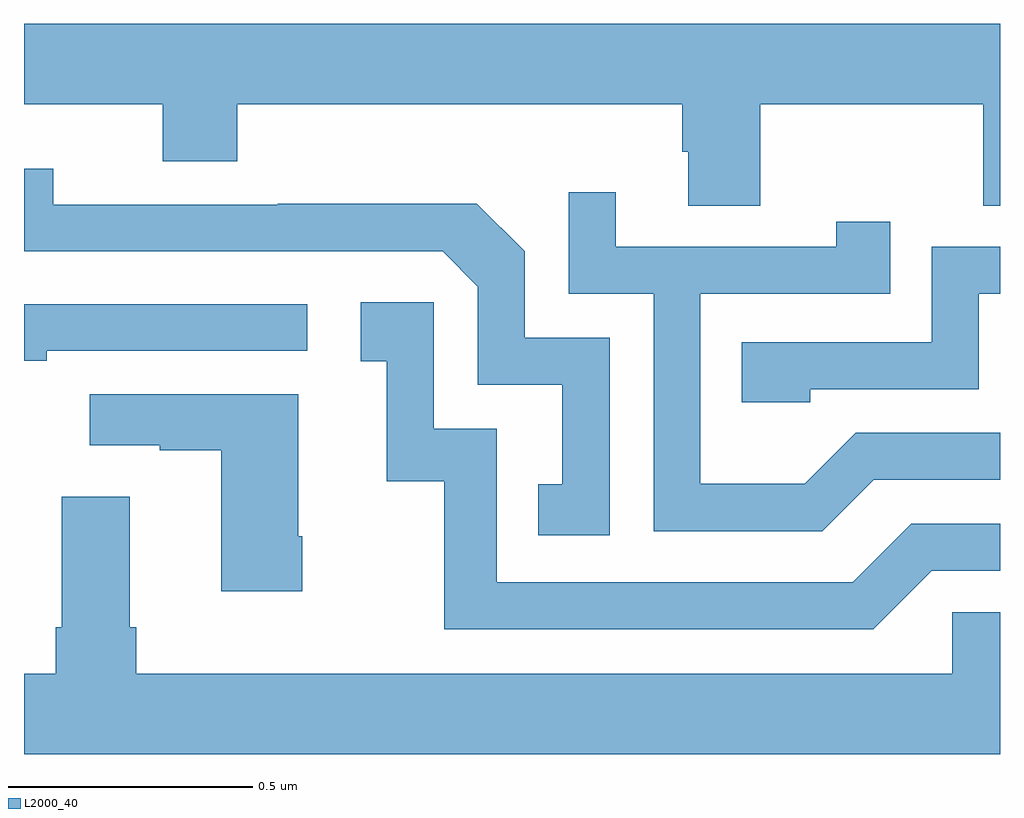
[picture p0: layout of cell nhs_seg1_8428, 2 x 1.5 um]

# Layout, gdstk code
import gdstk
lib = gdstk.Library(unit=1e-6, precision=1e-09)
def P(c, l, *ps):  # polygons
    for p in ps: c.add(gdstk.Polygon(p, *l))
L2000_40 = (2000, 40)

nhs_seg1_8428 = lib.new_cell('nhs_seg1_8428')
P(nhs_seg1_8428, L2000_40, [(217.509,543.74),(217.966,543.74),(217.966,543.532),(218,543.532),(218,543.904),(216,543.904),(216,543.74),(216.284,543.74),(216.284,543.623),(216.437,543.623),(216.437,543.74),(217.349,543.74),(217.349,543.642),(217.361,543.642),(217.361,543.532),(217.509,543.532)],
  [(217.2,543.261),(217.026,543.261),(217.026,543.438),(216.928,543.536),(216.52,543.536),(216.52,543.534),(216.06,543.534),(216.06,543.607),(216,543.607),(216,543.438),(216.858,543.438),(216.93,543.366),(216.93,543.165),(217.103,543.165),(217.103,542.961),(217.054,542.961),(217.054,542.856),(217.2,542.856)],
  [(217.741,542.97),(218,542.97),(218,543.066),(217.704,543.066),(217.6,542.962),(217.386,542.962),(217.386,543.351),(217.775,543.351),(217.775,543.499),(217.664,543.499),(217.664,543.447),(217.213,543.447),(217.213,543.559),(217.116,543.559),(217.116,543.351),(217.29,543.351),(217.29,542.865),(217.636,542.865)],
  [(217.611,543.156),(217.956,543.156),(217.956,543.351),(218,543.351),(218,543.447),(217.86,543.447),(217.86,543.252),(217.471,543.252),(217.471,543.129),(217.611,543.129)],
  [(217.86,542.784),(218,542.784),(218,542.88),(217.818,542.88),(217.698,542.76),(216.969,542.76),(216.969,543.075),(216.84,543.075),(216.84,543.334),(216.69,543.334),(216.69,543.213),(216.743,543.213),(216.743,542.967),(216.861,542.967),(216.861,542.664),(217.74,542.664)],
  [(216.047,543.234),(216.58,543.234),(216.58,543.33),(216,543.33),(216,543.214),(216.047,543.214)],
  [(216.57,542.854),(216.562,542.854),(216.562,543.145),(216.135,543.145),(216.135,543.041),(216.278,543.041),(216.278,543.031),(216.404,543.031),(216.404,542.742),(216.57,542.742)],
  [(216.217,542.668),(216.217,542.935),(216.077,542.935),(216.077,542.668),(216.065,542.668),(216.065,542.572),(216,542.572),(216,542.408),(218,542.408),(218,542.699),(217.902,542.699),(217.902,542.572),(216.23,542.572),(216.23,542.668)])

lib.write_gds('nhs_seg1_8428.gds')
